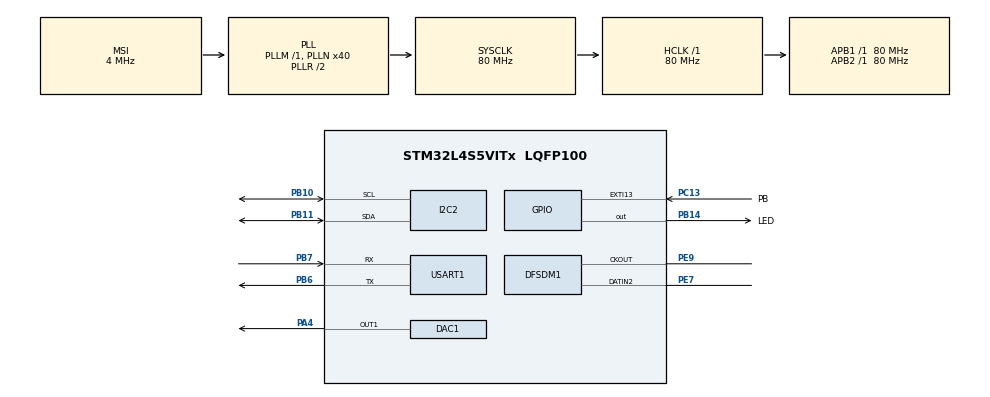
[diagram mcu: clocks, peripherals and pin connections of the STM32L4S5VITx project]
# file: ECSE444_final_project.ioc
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DAC1.DAC_Trigger-DAC_OUT1=DAC_TRIGGER_T2_TRGO
DFSDM1.Divider=40
DFSDM1.DmaMode_reg_FIL0=ENABLE
DFSDM1.FastMode_reg_FIL0=ENABLE
DFSDM1.Filter_regChannel_FIL0=DFSDM_CHANNEL_2
DFSDM1.Fosr_FIL0=250
DFSDM1.SincOrder_FIL0=DFSDM_FILTER_SINC3_ORDER
Dma.DAC1_CH1.0.Direction=DMA_MEMORY_TO_PERIPH
Dma.DAC1_CH1.0.EventEnable=DISABLE
Dma.DAC1_CH1.0.Instance=DMA1_Channel1
Dma.DAC1_CH1.0.MemDataAlignment=DMA_MDATAALIGN_WORD
Dma.DAC1_CH1.0.MemInc=DMA_MINC_ENABLE
Dma.DAC1_CH1.0.Mode=DMA_CIRCULAR
Dma.DAC1_CH1.0.PeriphDataAlignment=DMA_PDATAALIGN_WORD
Dma.DAC1_CH1.0.PeriphInc=DMA_PINC_DISABLE
Dma.DAC1_CH1.0.Polarity=HAL_DMAMUX_REQUEST_GEN_RISING
Dma.DAC1_CH1.0.Priority=DMA_PRIORITY_LOW
Dma.DAC1_CH1.0.RequestNumber=1
Dma.DAC1_CH1.0.SignalID=NONE
Dma.DAC1_CH1.0.SyncEnable=DISABLE
Dma.DAC1_CH1.0.SyncPolarity=HAL_DMAMUX_SYNC_NO_EVENT
Dma.DAC1_CH1.0.SyncRequestNumber=1
Dma.DAC1_CH1.0.SyncSignalID=NONE
Dma.DFSDM1_FLT0.1.Direction=DMA_PERIPH_TO_MEMORY
Dma.DFSDM1_FLT0.1.EventEnable=DISABLE
Dma.DFSDM1_FLT0.1.Instance=DMA1_Channel2
Dma.DFSDM1_FLT0.1.MemDataAlignment=DMA_MDATAALIGN_WORD
Dma.DFSDM1_FLT0.1.MemInc=DMA_MINC_ENABLE
Dma.DFSDM1_FLT0.1.Mode=DMA_NORMAL
Dma.DFSDM1_FLT0.1.PeriphDataAlignment=DMA_PDATAALIGN_WORD
Dma.DFSDM1_FLT0.1.PeriphInc=DMA_PINC_DISABLE
Dma.DFSDM1_FLT0.1.Polarity=HAL_DMAMUX_REQUEST_GEN_RISING
Dma.DFSDM1_FLT0.1.Priority=DMA_PRIORITY_HIGH
Dma.DFSDM1_FLT0.1.RequestNumber=1
Dma.DFSDM1_FLT0.1.SignalID=NONE
Dma.DFSDM1_FLT0.1.SyncEnable=DISABLE
Dma.DFSDM1_FLT0.1.SyncPolarity=HAL_DMAMUX_SYNC_NO_EVENT
Dma.DFSDM1_FLT0.1.SyncRequestNumber=1
Dma.DFSDM1_FLT0.1.SyncSignalID=NONE
Dma.Request0=DAC1_CH1
Dma.Request1=DFSDM1_FLT0
FREERTOS.Tasks01=buttonTask,0,128,StartButtonTask,Default,NULL,Dynamic,NULL,NULL;transmitTask,0,128,StartTransmitTask,Default,NULL,Dynamic,NULL,NULL;readTask,0,128,StartReadTask,Default,NULL,Dynamic,NULL,NULL;killTask,0,128,StartKillTask,Default,NULL,Dynamic,NULL,NULL
I2C2.Timing=0x10909CEC
Mcu.Family=STM32L4
Mcu.Name=STM32L4S5VITx
Mcu.Package=LQFP100
NVIC.DMA1_Channel1_IRQn=true\:5\:0\:false\:false\:true\:true\:false\:true\:true
NVIC.DMA1_Channel2_IRQn=true\:5\:0\:false\:false\:true\:true\:false\:true\:true
NVIC.EXTI15_10_IRQn=true\:5\:0\:false\:false\:true\:true\:true\:true\:true
NVIC.PriorityGroup=NVIC_PRIORITYGROUP_4
NVIC.TIM2_IRQn=true\:5\:0\:false\:false\:true\:true\:true\:true\:true
NVIC.TIM6_DAC_IRQn=true\:15\:0\:false\:false\:true\:false\:false\:true\:true
NVIC.TimeBase=TIM6_DAC_IRQn
NVIC.TimeBaseIP=TIM6
PA13\ (JTMS/SWDIO).Signal=SYS_JTMS-SWDIO
PA4.Signal=COMP_DAC11_group
PB10.Mode=I2C
PB10.Signal=I2C2_SCL
PB11.Mode=I2C
PB11.Signal=I2C2_SDA
PB14.GPIO_Label=LED
PB14.Signal=GPIO_Output
PB3\ (JTDO/TRACESWO).Signal=SYS_JTDO-SWO
PB6.Mode=Asynchronous
PB6.Signal=USART1_TX
PB7.Mode=Asynchronous
PB7.Signal=USART1_RX
PB8.Signal=I2C1_SCL
PB9.Signal=I2C1_SDA
PC13.GPIO_Label=PB
PC13.Signal=GPXTI13
PE7.Signal=S_DATAIN2DFSDM1
PE9.Signal=S_CKOUTDFSDM1
ProjectManager.HeapSize=0x200
ProjectManager.StackSize=0x400
ProjectManager.TargetToolchain=STM32CubeIDE
RCC.ADCFreq_Value=48000000
RCC.AHBFreq_Value=80000000
RCC.APB1Freq_Value=80000000
RCC.APB1TimFreq_Value=80000000
RCC.APB2Freq_Value=80000000
RCC.APB2TimFreq_Value=80000000
RCC.CortexFreq_Value=80000000
RCC.FLatency-AdvancedSettings=FLASH_LATENCY_3
RCC.HCLKFreq_Value=80000000
RCC.HSE_VALUE=8000000
RCC.HSI48_VALUE=48000000
RCC.HSI_VALUE=16000000
RCC.LSE_VALUE=32768
RCC.MSI_VALUE=4000000
RCC.PLLN=40
RCC.PLLSAI1N=24
RCC.SYSCLKFreq_VALUE=80000000
RCC.SYSCLKSource=RCC_SYSCLKSOURCE_PLLCLK
RCC.USBFreq_Value=48000000
RCC.VCOOutputFreq_Value=160000000
SH.COMP_DAC11_group.0=DAC1_OUT1,DAC_OUT1
SH.S_CKOUTDFSDM1.0=DFSDM1_CKOUT,PDM_SPI_input_from_ch2_and_internal_clock
SH.S_CKOUTDFSDM1.1=DFSDM1_CKOUT,CKOUT
SH.S_DATAIN2DFSDM1.0=DFSDM1_DATIN2,PDM_SPI_input_from_ch2_and_internal_clock
TIM2.Period=2000
TIM2.TIM_MasterOutputTrigger=TIM_TRGO_UPDATE
USART1.VirtualMode-Asynchronous=VM_ASYNC
VP_FREERTOS_VS_CMSIS_V1.Mode=CMSIS_V1
VP_SYS_VS_tim6.Mode=TIM6
VP_TIM2_VS_ClockSourceINT.Mode=Internal
board=B-L4S5I-IOT01A

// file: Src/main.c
/* USER CODE BEGIN Header */
/**
  ******************************************************************************
  * @file           : main.c
  * @brief          : Main program body
  ******************************************************************************
  * @attention
  *
  * Copyright (c) 2022 STMicroelectronics.
  * All rights reserved.
  *
  * This software is licensed under terms that can be found in the LICENSE file
  * in the root directory of this software component.
  * If no LICENSE file comes with this software, it is provided AS-IS.
  *
  ******************************************************************************
  */
/* USER CODE END Header */
#include "main.h"
#include "cmsis_os.h"

/* USER CODE BEGIN Includes */
#define ARM_MATH_CM4
#include "stm32l4s5i_iot01_qspi.h"
#include "arm_math.h"
#include <stdio.h>
#include <string.h>
/* USER CODE END Includes */

/* USER CODE BEGIN PD */
//#define ITM_Port32(n) (*((volatile unsigned long *) (0xE0000000+4*n)))
/* USER CODE END PD */

DAC_HandleTypeDef hdac1;
DMA_HandleTypeDef hdma_dac1_ch1;

DFSDM_Filter_HandleTypeDef hdfsdm1_filter0;
DFSDM_Channel_HandleTypeDef hdfsdm1_channel2;
DMA_HandleTypeDef hdma_dfsdm1_flt0;

I2C_HandleTypeDef hi2c2;

OSPI_HandleTypeDef hospi1;

TIM_HandleTypeDef htim2;

UART_HandleTypeDef huart1;

osThreadId buttonTaskHandle;
osThreadId transmitTaskHandle;
osThreadId readTaskHandle;
osThreadId killTaskHandle;
/* USER CODE BEGIN PV */
#define buffer_size	1000
int32_t pre_Buffer[buffer_size];
int32_t aft_Buffer[buffer_size];
uint32_t music[42] = {1,1,5,5,6,6,5,4,4,3,3,2,2,1,5,5,4,4,3,3,2,5,5,4,4,3,3,2,1,1,5,5,6,6,5,4,4,3,3,2,1,1};
uint32_t music_index = 0;
uint8_t music_started = 0;
uint8_t first_half_done = 0;
uint8_t second_half_done = 0;
uint8_t start_recording = 0;
uint8_t volume_height = 0;
uint32_t start_status = 0;
int32_t buffmax = 0;
int32_t buffmin = 0;
int32_t mean = 0;
int32_t sum = 0;
uint32_t i;
uint32_t j;
//uint32_t data_index = 0;
uint32_t puttonPushed = 0;
//uint32_t killCounter = 0;
uint32_t resetCounter = 0;
uint32_t blank_count = 0;
HAL_StatusTypeDef UART_status;
char str[240];
char row1[20];
char row2[20];
char row3[20];
char row4[20];
char row5[20];
char row6[20];
char row7[20];
char row8[20];
char row9[20];
char row10[20];
char row11[20];
int distance = 0;
uint32_t num = 0;
uint32_t done = 0;
uint8_t original[10] = { 0, 1, 2, 3, 4, 5, 6, 7, 8, 9 };
uint8_t copy[10];
uint32_t SIN_OUT_800[50];
uint32_t SIN_OUT_1000[40];
uint32_t SIN_OUT_1250[32];
uint32_t SIN_OUT_1600[25];
uint32_t SIN_OUT_2000[20];
uint32_t SIN_OUT_2500[16];
uint32_t offset = 20000;
uint8_t in_Buffer[20000];
uint32_t out_Buffer[20000];
uint8_t wave0[20000];
uint8_t wave1[20000];
uint8_t wave2[20000];
uint8_t wave3[20000];
uint8_t wave4[20000];
uint8_t wave5[20000];
uint8_t wave6[20000];
/* USER CODE END PV */

void SystemClock_Config(void);
static void MX_GPIO_Init(void);
static void MX_DMA_Init(void);
static void MX_DAC1_Init(void);
static void MX_TIM2_Init(void);
static void MX_I2C2_Init(void);
static void MX_USART1_UART_Init(void);
static void MX_DFSDM1_Init(void);
static void MX_OCTOSPI1_Init(void);
void StartButtonTask(void const * argument);
void StartTransmitTask(void const * argument);
void StartReadTask(void const * argument);
void StartKillTask(void const * argument);

int main(void)
{

  /* MCU Configuration--------------------------------------------------------*/

  /* Reset of all peripherals, Initializes the Flash interface and the Systick. */
  HAL_Init();

  /* Configure the system clock */
  SystemClock_Config();

  /* Initialize all configured peripherals */
  MX_GPIO_Init();
  MX_DMA_Init();
  MX_DAC1_Init();
  MX_TIM2_Init();
  MX_I2C2_Init();
  MX_USART1_UART_Init();
  MX_DFSDM1_Init();
  MX_OCTOSPI1_Init();
  /* USER CODE BEGIN 2 */
  BSP_QSPI_Init();

  for (int i = 0; i < offset; i++){
      float radians = 3.14 * i / 20;
      wave0[i] = (uint8_t) roundf(128 * (1.0 + arm_sin_f32(radians)));
  }
  for (int i = 0; i < offset; i++){
	  float radians = 3.14 * i / 18;
	  wave1[i] = (uint8_t) roundf(128 * (1.0 + arm_sin_f32(radians)));
  }
  for (int i = 0; i < offset; i++){
      float radians = 3.14 * i / 16;
      wave2[i] = (uint8_t) roundf(128 * (1.0 + arm_sin_f32(radians)));
  }
  for (int i = 0; i < offset; i++){
	  float radians = 3.14 * i / 15;
	  wave3[i] = (uint8_t) roundf(128 * (1.0 + arm_sin_f32(radians)));
  }
  for (int i = 0; i < offset; i++){
	  float radians = 3.14 * i / 13;
	  wave4[i] = (uint8_t) roundf(128 * (1.0 + arm_sin_f32(radians)));
  }
  for (int i = 0; i < offset; i++){
	  float radians = 3.14 * i / 12;
	  wave5[i] = (uint8_t) roundf(128 * (1.0 + arm_sin_f32(radians)));
  }
  for (int i = 0; i < offset; i++){
	  float radians = 3.14 * i / 11;
	  wave6[i] = (uint8_t) roundf(128 * (1.0 + arm_sin_f32(radians)));
  }

//  for (uint32_t k = 0; k < 50; k++) {
//	  SIN_OUT_800[k] = (uint32_t) roundf(125*(arm_sin_f32(k*(M_PI/25.0))+1));//1365
//  	}
//  for (uint32_t k = 0; k < 40; k++) {
//	  SIN_OUT_1000[k] = (uint32_t) roundf(125*(arm_sin_f32(k*(M_PI/20.0))+1));
//  	}
//  for (uint32_t k = 0; k < 32; k++) {
//	  SIN_OUT_1250[k] = (uint32_t) roundf(125*(arm_sin_f32(k*(M_PI/16.0))+1));
//  	}
//  for (uint32_t k = 0; k < 25; k++) {
//	  SIN_OUT_1600[k] = (uint32_t) roundf(125*(arm_sin_f32(k*(M_PI/12.5))+1));
//  	}
//  for (uint32_t k = 0; k < 20; k++) {
//	  SIN_OUT_2000[k] = (uint32_t) roundf(125*(arm_sin_f32(k*(M_PI/10.0))+1));
//  	}
//  for (uint32_t k = 0; k < 16; k++) {
//	  SIN_OUT_2500[k] = (uint32_t) roundf(125*(arm_sin_f32(k*(M_PI/8.0))+1));
//  	}

//  HAL_GPIO_TogglePin(LED_GPIO_Port, LED_Pin);

  if (BSP_QSPI_Erase_Block((uint32_t) 0x007F0000) != QSPI_OK){
	  Error_Handler();
  }
  if (BSP_QSPI_Erase_Block((uint32_t) 0x007E0000) != QSPI_OK){
	  Error_Handler();
  }
  if (BSP_QSPI_Erase_Block((uint32_t) 0x007D0000) != QSPI_OK){
	  Error_Handler();
  }
  if (BSP_QSPI_Erase_Block((uint32_t) 0x007C0000) != QSPI_OK){
	  Error_Handler();
  }
  if (BSP_QSPI_Erase_Block((uint32_t) 0x007B0000) != QSPI_OK){
	  Error_Handler();
  }
  if (BSP_QSPI_Erase_Block((uint32_t) 0x007A0000) != QSPI_OK){
	  Error_Handler();
  }
  if (BSP_QSPI_Erase_Block((uint32_t) 0x00790000) != QSPI_OK){
	  Error_Handler();
  }
//  for (uint32_t i = 0; i < 30000; i++) {
//	  in_Buffer[i] = (uint8_t)SIN_OUT_800[(i % 50)];
//  	}

  if (BSP_QSPI_Write(wave0, (uint32_t) 0x007F0000, 20000) != QSPI_OK){
	  Error_Handler();
  }

//  for (uint32_t i = 0; i < 30000; i++) {
//	  in_Buffer[i] = (uint8_t)SIN_OUT_1000[(i % 40)];
//  	}
  if (BSP_QSPI_Write(wave1, (uint32_t) 0x007E0000, 20000) != QSPI_OK){
	  Error_Handler();
  }

//  for (uint32_t i = 0; i < 30000; i++) {
//	  in_Buffer[i] = (uint8_t)SIN_OUT_1250[(i % 32)];
//  	}
  if (BSP_QSPI_Write(wave2, (uint32_t) 0x007D0000, 20000) != QSPI_OK){
	  Error_Handler();
  }

//  for (uint32_t i = 0; i < 30000; i++) {
//	  in_Buffer[i] = (uint8_t)SIN_OUT_1600[(i % 25)];
//  	}
  if (BSP_QSPI_Write(wave3, (uint32_t) 0x007C0000, 20000) != QSPI_OK){
	  Error_Handler();
  }

//  for (uint32_t i = 0; i < 30000; i++) {
//	  in_Buffer[i] = (uint8_t)SIN_OUT_2000[(i % 20)];
//  	}
  if (BSP_QSPI_Write(wave4, (uint32_t) 0x007B0000, 20000) != QSPI_OK){
	  Error_Handler();
  }

//  for (uint32_t i = 0; i < 30000; i++) {
//	  in_Buffer[i] = (uint8_t)SIN_OUT_2500[(i % 16)];
//  	}
  if (BSP_QSPI_Write(wave5, (uint32_t) 0x007A0000, 20000) != QSPI_OK){
	  Error_Handler();
  }

  if (BSP_QSPI_Write(wave6, (uint32_t) 0x00790000, 20000) != QSPI_OK){
	  Error_Handler();
  }

  /* USER CODE END 2 */

  /* Create the thread(s) */
  /* definition and creation of buttonTask */
  osThreadDef(buttonTask, StartButtonTask, osPriorityNormal, 0, 128);
  buttonTaskHandle = osThreadCreate(osThread(buttonTask), NULL);

  /* definition and creation of transmitTask */
  osThreadDef(transmitTask, StartTransmitTask, osPriorityNormal, 0, 128);
  transmitTaskHandle = osThreadCreate(osThread(transmitTask), NULL);

  /* definition and creation of readTask */
  osThreadDef(readTask, StartReadTask, osPriorityNormal, 0, 128);
  readTaskHandle = osThreadCreate(osThread(readTask), NULL);

  /* definition and creation of killTask */
  osThreadDef(killTask, StartKillTask, osPriorityNormal, 0, 128);
  killTaskHandle = osThreadCreate(osThread(killTask), NULL);

  /* Start scheduler */
  osKernelStart();

  /* We should never get here as control is now taken by the scheduler */
  /* Infinite loop */
  while (1)
  {

    /* USER CODE BEGIN 3 */
//	    HAL_Delay(100);
//		BSP_ACCELERO_AccGetXYZ(accelero);
//		BSP_GYRO_GetXYZ(gyro);
//		BSP_MAGNETO_GetXYZ(magneto);
//		hsensor = BSP_HSENSOR_ReadHumidity();
  }
  /* USER CODE END 3 */
}

void SystemClock_Config(void)
{
  RCC_OscInitTypeDef RCC_OscInitStruct = {0};
  RCC_ClkInitTypeDef RCC_ClkInitStruct = {0};

  /** Configure the main internal regulator output voltage
  */
  if (HAL_PWREx_ControlVoltageScaling(PWR_REGULATOR_VOLTAGE_SCALE1) != HAL_OK)
  {
    Error_Handler();
  }

  /** Initializes the RCC Oscillators according to the specified parameters
  * in the RCC_OscInitTypeDef structure.
  */
  RCC_OscInitStruct.OscillatorType = RCC_OSCILLATORTYPE_MSI;
  RCC_OscInitStruct.MSIState = RCC_MSI_ON;
  RCC_OscInitStruct.MSICalibrationValue = 0;
  RCC_OscInitStruct.MSIClockRange = RCC_MSIRANGE_6;
  RCC_OscInitStruct.PLL.PLLState = RCC_PLL_ON;
  RCC_OscInitStruct.PLL.PLLSource = RCC_PLLSOURCE_MSI;
  RCC_OscInitStruct.PLL.PLLM = 1;
  RCC_OscInitStruct.PLL.PLLN = 40;
  RCC_OscInitStruct.PLL.PLLP = RCC_PLLP_DIV2;
  RCC_OscInitStruct.PLL.PLLQ = RCC_PLLQ_DIV2;
  RCC_OscInitStruct.PLL.PLLR = RCC_PLLR_DIV2;
  if (HAL_RCC_OscConfig(&RCC_OscInitStruct) != HAL_OK)
  {
    Error_Handler();
  }

  /** Initializes the CPU, AHB and APB buses clocks
  */
  RCC_ClkInitStruct.ClockType = RCC_CLOCKTYPE_HCLK|RCC_CLOCKTYPE_SYSCLK
                              |RCC_CLOCKTYPE_PCLK1|RCC_CLOCKTYPE_PCLK2;
  RCC_ClkInitStruct.SYSCLKSource = RCC_SYSCLKSOURCE_PLLCLK;
  RCC_ClkInitStruct.AHBCLKDivider = RCC_SYSCLK_DIV1;
  RCC_ClkInitStruct.APB1CLKDivider = RCC_HCLK_DIV1;
  RCC_ClkInitStruct.APB2CLKDivider = RCC_HCLK_DIV1;

  if (HAL_RCC_ClockConfig(&RCC_ClkInitStruct, FLASH_LATENCY_3) != HAL_OK)
  {
    Error_Handler();
  }
}

static void MX_DAC1_Init(void)
{

  DAC_ChannelConfTypeDef sConfig = {0};

  /** DAC Initialization
  */
  hdac1.Instance = DAC1;
  if (HAL_DAC_Init(&hdac1) != HAL_OK)
  {
    Error_Handler();
  }

  /** DAC channel OUT1 config
  */
  sConfig.DAC_SampleAndHold = DAC_SAMPLEANDHOLD_DISABLE;
  sConfig.DAC_Trigger = DAC_TRIGGER_T2_TRGO;
  sConfig.DAC_HighFrequency = DAC_HIGH_FREQUENCY_INTERFACE_MODE_ABOVE_80MHZ;
  sConfig.DAC_OutputBuffer = DAC_OUTPUTBUFFER_ENABLE;
  sConfig.DAC_ConnectOnChipPeripheral = DAC_CHIPCONNECT_DISABLE;
  sConfig.DAC_UserTrimming = DAC_TRIMMING_FACTORY;
  if (HAL_DAC_ConfigChannel(&hdac1, &sConfig, DAC_CHANNEL_1) != HAL_OK)
  {
    Error_Handler();
  }

}

static void MX_DFSDM1_Init(void)
{

  hdfsdm1_filter0.Instance = DFSDM1_Filter0;
  hdfsdm1_filter0.Init.RegularParam.Trigger = DFSDM_FILTER_SW_TRIGGER;
  hdfsdm1_filter0.Init.RegularParam.FastMode = ENABLE;
  hdfsdm1_filter0.Init.RegularParam.DmaMode = ENABLE;
  hdfsdm1_filter0.Init.FilterParam.SincOrder = DFSDM_FILTER_SINC3_ORDER;
  hdfsdm1_filter0.Init.FilterParam.Oversampling = 250;
  hdfsdm1_filter0.Init.FilterParam.IntOversampling = 1;
  if (HAL_DFSDM_FilterInit(&hdfsdm1_filter0) != HAL_OK)
  {
    Error_Handler();
  }
  hdfsdm1_channel2.Instance = DFSDM1_Channel2;
  hdfsdm1_channel2.Init.OutputClock.Activation = ENABLE;
  hdfsdm1_channel2.Init.OutputClock.Selection = DFSDM_CHANNEL_OUTPUT_CLOCK_SYSTEM;
  hdfsdm1_channel2.Init.OutputClock.Divider = 40;
  hdfsdm1_channel2.Init.Input.Multiplexer = DFSDM_CHANNEL_EXTERNAL_INPUTS;
  hdfsdm1_channel2.Init.Input.DataPacking = DFSDM_CHANNEL_STANDARD_MODE;
  hdfsdm1_channel2.Init.Input.Pins = DFSDM_CHANNEL_SAME_CHANNEL_PINS;
  hdfsdm1_channel2.Init.SerialInterface.Type = DFSDM_CHANNEL_SPI_RISING;
  hdfsdm1_channel2.Init.SerialInterface.SpiClock = DFSDM_CHANNEL_SPI_CLOCK_INTERNAL;
  hdfsdm1_channel2.Init.Awd.FilterOrder = DFSDM_CHANNEL_FASTSINC_ORDER;
  hdfsdm1_channel2.Init.Awd.Oversampling = 1;
  hdfsdm1_channel2.Init.Offset = 0;
  hdfsdm1_channel2.Init.RightBitShift = 0x00;
  if (HAL_DFSDM_ChannelInit(&hdfsdm1_channel2) != HAL_OK)
  {
    Error_Handler();
  }
  if (HAL_DFSDM_FilterConfigRegChannel(&hdfsdm1_filter0, DFSDM_CHANNEL_2, DFSDM_CONTINUOUS_CONV_ON) != HAL_OK)
  {
    Error_Handler();
  }

}

static void MX_I2C2_Init(void)
{

  hi2c2.Instance = I2C2;
  hi2c2.Init.Timing = 0x10909CEC;
  hi2c2.Init.OwnAddress1 = 0;
  hi2c2.Init.AddressingMode = I2C_ADDRESSINGMODE_7BIT;
  hi2c2.Init.DualAddressMode = I2C_DUALADDRESS_DISABLE;
  hi2c2.Init.OwnAddress2 = 0;
  hi2c2.Init.OwnAddress2Masks = I2C_OA2_NOMASK;
  hi2c2.Init.GeneralCallMode = I2C_GENERALCALL_DISABLE;
  hi2c2.Init.NoStretchMode = I2C_NOSTRETCH_DISABLE;
  if (HAL_I2C_Init(&hi2c2) != HAL_OK)
  {
    Error_Handler();
  }

  /** Configure Analogue filter
  */
  if (HAL_I2CEx_ConfigAnalogFilter(&hi2c2, I2C_ANALOGFILTER_ENABLE) != HAL_OK)
  {
    Error_Handler();
  }

  /** Configure Digital filter
  */
  if (HAL_I2CEx_ConfigDigitalFilter(&hi2c2, 0) != HAL_OK)
  {
    Error_Handler();
  }

}

static void MX_OCTOSPI1_Init(void)
{

  OSPIM_CfgTypeDef OSPIM_Cfg_Struct = {0};

  /* OCTOSPI1 parameter configuration*/
  hospi1.Instance = OCTOSPI1;
  hospi1.Init.FifoThreshold = 1;
  hospi1.Init.DualQuad = HAL_OSPI_DUALQUAD_DISABLE;
  hospi1.Init.MemoryType = HAL_OSPI_MEMTYPE_MACRONIX;
  hospi1.Init.DeviceSize = 32;
  hospi1.Init.ChipSelectHighTime = 1;
  hospi1.Init.FreeRunningClock = HAL_OSPI_FREERUNCLK_DISABLE;
  hospi1.Init.ClockMode = HAL_OSPI_CLOCK_MODE_0;
  hospi1.Init.ClockPrescaler = 1;
  hospi1.Init.SampleShifting = HAL_OSPI_SAMPLE_SHIFTING_NONE;
  hospi1.Init.DelayHoldQuarterCycle = HAL_OSPI_DHQC_DISABLE;
  hospi1.Init.ChipSelectBoundary = 0;
  hospi1.Init.DelayBlockBypass = HAL_OSPI_DELAY_BLOCK_BYPASSED;
  if (HAL_OSPI_Init(&hospi1) != HAL_OK)
  {
    Error_Handler();
  }
  OSPIM_Cfg_Struct.ClkPort = 1;
  OSPIM_Cfg_Struct.NCSPort = 1;
  OSPIM_Cfg_Struct.IOLowPort = HAL_OSPIM_IOPORT_1_LOW;
  if (HAL_OSPIM_Config(&hospi1, &OSPIM_Cfg_Struct, HAL_OSPI_TIMEOUT_DEFAULT_VALUE) != HAL_OK)
  {
    Error_Handler();
  }

}

static void MX_TIM2_Init(void)
{

  TIM_ClockConfigTypeDef sClockSourceConfig = {0};
  TIM_MasterConfigTypeDef sMasterConfig = {0};

  htim2.Instance = TIM2;
  htim2.Init.Prescaler = 0;
  htim2.Init.CounterMode = TIM_COUNTERMODE_UP;
  htim2.Init.Period = 2000;
  htim2.Init.ClockDivision = TIM_CLOCKDIVISION_DIV1;
  htim2.Init.AutoReloadPreload = TIM_AUTORELOAD_PRELOAD_DISABLE;
  if (HAL_TIM_Base_Init(&htim2) != HAL_OK)
  {
    Error_Handler();
  }
  sClockSourceConfig.ClockSource = TIM_CLOCKSOURCE_INTERNAL;
  if (HAL_TIM_ConfigClockSource(&htim2, &sClockSourceConfig) != HAL_OK)
  {
    Error_Handler();
  }
  sMasterConfig.MasterOutputTrigger = TIM_TRGO_UPDATE;
  sMasterConfig.MasterSlaveMode = TIM_MASTERSLAVEMODE_DISABLE;
  if (HAL_TIMEx_MasterConfigSynchronization(&htim2, &sMasterConfig) != HAL_OK)
  {
    Error_Handler();
  }

}

static void MX_USART1_UART_Init(void)
{

  huart1.Instance = USART1;
  huart1.Init.BaudRate = 115200;
  huart1.Init.WordLength = UART_WORDLENGTH_8B;
  huart1.Init.StopBits = UART_STOPBITS_1;
  huart1.Init.Parity = UART_PARITY_NONE;
  huart1.Init.Mode = UART_MODE_TX_RX;
  huart1.Init.HwFlowCtl = UART_HWCONTROL_NONE;
  huart1.Init.OverSampling = UART_OVERSAMPLING_16;
  huart1.Init.OneBitSampling = UART_ONE_BIT_SAMPLE_DISABLE;
  huart1.Init.ClockPrescaler = UART_PRESCALER_DIV1;
  huart1.AdvancedInit.AdvFeatureInit = UART_ADVFEATURE_NO_INIT;
  if (HAL_UART_Init(&huart1) != HAL_OK)
  {
    Error_Handler();
  }
  if (HAL_UARTEx_SetTxFifoThreshold(&huart1, UART_TXFIFO_THRESHOLD_1_8) != HAL_OK)
  {
    Error_Handler();
  }
  if (HAL_UARTEx_SetRxFifoThreshold(&huart1, UART_RXFIFO_THRESHOLD_1_8) != HAL_OK)
  {
    Error_Handler();
  }
  if (HAL_UARTEx_DisableFifoMode(&huart1) != HAL_OK)
  {
    Error_Handler();
  }

}

static void MX_DMA_Init(void)
{

  /* DMA controller clock enable */
  __HAL_RCC_DMAMUX1_CLK_ENABLE();
  __HAL_RCC_DMA1_CLK_ENABLE();

  /* DMA interrupt init */
  /* DMA1_Channel1_IRQn interrupt configuration */
  HAL_NVIC_SetPriority(DMA1_Channel1_IRQn, 5, 0);
  HAL_NVIC_EnableIRQ(DMA1_Channel1_IRQn);
  /* DMA1_Channel2_IRQn interrupt configuration */
  HAL_NVIC_SetPriority(DMA1_Channel2_IRQn, 5, 0);
  HAL_NVIC_EnableIRQ(DMA1_Channel2_IRQn);

}

static void MX_GPIO_Init(void)
{
  GPIO_InitTypeDef GPIO_InitStruct = {0};

  /* GPIO Ports Clock Enable */
  __HAL_RCC_GPIOC_CLK_ENABLE();
  __HAL_RCC_GPIOA_CLK_ENABLE();
  __HAL_RCC_GPIOE_CLK_ENABLE();
  __HAL_RCC_GPIOB_CLK_ENABLE();

  /*Configure GPIO pin Output Level */
  HAL_GPIO_WritePin(LED_GPIO_Port, LED_Pin, GPIO_PIN_RESET);

  /*Configure GPIO pin : PB_Pin */
  GPIO_InitStruct.Pin = PB_Pin;
  GPIO_InitStruct.Mode = GPIO_MODE_IT_RISING;
  GPIO_InitStruct.Pull = GPIO_NOPULL;
  HAL_GPIO_Init(PB_GPIO_Port, &GPIO_InitStruct);

  /*Configure GPIO pin : LED_Pin */
  GPIO_InitStruct.Pin = LED_Pin;
  GPIO_InitStruct.Mode = GPIO_MODE_OUTPUT_PP;
  GPIO_InitStruct.Pull = GPIO_NOPULL;
  GPIO_InitStruct.Speed = GPIO_SPEED_FREQ_LOW;
  HAL_GPIO_Init(LED_GPIO_Port, &GPIO_InitStruct);

  /*Configure GPIO pins : PB8 PB9 */
  GPIO_InitStruct.Pin = GPIO_PIN_8|GPIO_PIN_9;
  GPIO_InitStruct.Mode = GPIO_MODE_AF_OD;
  GPIO_InitStruct.Pull = GPIO_NOPULL;
  GPIO_InitStruct.Speed = GPIO_SPEED_FREQ_VERY_HIGH;
  GPIO_InitStruct.Alternate = GPIO_AF4_I2C1;
  HAL_GPIO_Init(GPIOB, &GPIO_InitStruct);

  /* EXTI interrupt init*/
  HAL_NVIC_SetPriority(EXTI15_10_IRQn, 5, 0);
  HAL_NVIC_EnableIRQ(EXTI15_10_IRQn);

}

/* USER CODE BEGIN 4 */
void HAL_DAC_ConvCpltCallbackCh1(DAC_HandleTypeDef *hdac){
	done = 1;
	HAL_DAC_Stop_DMA(&hdac1, DAC_CHANNEL_1);
}
void HAL_DFSDM_FilterRegConvHalfCpltCallback(DFSDM_Filter_HandleTypeDef *hdfsdm_filter){
	first_half_done = 1;
}
void HAL_DFSDM_FilterRegConvCpltCallback(DFSDM_Filter_HandleTypeDef *hdfsdm_filter){
	second_half_done = 1;
}
void HAL_GPIO_EXTI_Callback(uint16_t GPIO_Pin)
{
	puttonPushed = 1;

}
/* USER CODE END 4 */

void StartButtonTask(void const * argument)
{
  /* USER CODE BEGIN 5 */
  /* Infinite loop */
  for(;;)
  {
    osDelay(100);
    //ITM_Port32(31) = 1;
    if (puttonPushed==1){
    	puttonPushed = 0;
    	distance = 0;
    	resetCounter = 1;//this indicates the start of the game
    	//initialize 10 rows
        sprintf(row1, "\r*|          |*\n");
        sprintf(row2, "\r*|          |*\n");
        sprintf(row3, "\r*|          |*\n");
        sprintf(row4, "\r*|          |*\n");
        sprintf(row5, "\r*|          |*\n");
        sprintf(row6, "\r*|          |*\n");
        sprintf(row7, "\r*|          |*\n");
        sprintf(row8, "\r*|          |*\n");
        sprintf(row9, "\r*|          |*\n");
        sprintf(row10, "\r*|         O|*\n");
        sprintf(row11, "\r**************");
    }
  }
  /* USER CODE END 5 */
}

void StartTransmitTask(void const * argument)
{
  /* USER CODE BEGIN StartTransmitTask */
	  HAL_UART_Init(&huart1);
  /* Infinite loop */
  for(;;)
  {
    osDelay(500);
    while(resetCounter ==0){
    //do nothing until the button is pressed
    }
    if(start_recording==0){
        HAL_DFSDM_FilterRegularStart_DMA(&hdfsdm1_filter0, pre_Buffer, buffer_size);
        HAL_GPIO_TogglePin(LED_GPIO_Port, LED_Pin);
        start_recording=1;
        sum = 0;
        }
    	  if (first_half_done == 1){
    		  for(i = 0; i<buffer_size/2; i++){
    			  aft_Buffer[i] = pre_Buffer[i]>>20;
    			  if (aft_Buffer[i]>buffmax){
    				  buffmax = aft_Buffer[i];
    			  }
    			  if (aft_Buffer[i]<buffmin){
    				  buffmin = aft_Buffer[i];
    			  }
    			  if(aft_Buffer[i]<0){
    				  sum -= aft_Buffer[i];
    			  }
    			  else{
    				  sum += aft_Buffer[i];
    			  }
    		  }
    		  first_half_done = 0;
    	  }
    	  if (second_half_done == 1){
    		  for(i = buffer_size/2; i<buffer_size; i++){
    			  aft_Buffer[i] = pre_Buffer[i]>>20;
    			  if (aft_Buffer[i]>buffmax){
    				  buffmax = aft_Buffer[i];
    			  }
    			  if (aft_Buffer[i]<buffmin){
    				  buffmin = aft_Buffer[i];
    			  }
    			  if(aft_Buffer[i]<0){
    				  sum -= aft_Buffer[i];
    			  }
    			  else{
    				  sum += aft_Buffer[i];
    			  }
    		  }
    		  mean = sum/buffer_size;
    		  second_half_done = 0;
    		  HAL_DFSDM_FilterRegularStop_DMA(&hdfsdm1_filter0);
    		  HAL_GPIO_TogglePin(LED_GPIO_Port, LED_Pin);
    		  start_recording=0;
    	  }
    	  if(mean<10){
    			  volume_height = 0;
    		  }
    		  else if(mean<25){
    			  volume_height = 1;
    		  }
    		  else if(mean<50){
    			  volume_height = 2;
    		  }
    		  else if(mean<75){
    			  volume_height = 3;
    		  }
    		  else if(mean<100){
    			  volume_height = 4;
    		  }
    		  else if(mean<125){
    			  volume_height = 5;
    		  }
    		  else if(mean<150){
    			  volume_height = 6;
    		  }
    		  else if(mean<175){
    			  volume_height = 7;
    		  }
    		  else if(mean<200){
    			  volume_height = 8;
    		  }
    		  else if(mean<225){
    			  volume_height = 9;
    		  }
    		  else{
    			  volume_height = 9;
    		  }
    //for each row, copy the last row's content
    for(uint16_t copyIndex =0;copyIndex<20;copyIndex++){
    row10[copyIndex] = row9[copyIndex];
    row9[copyIndex] = row8[copyIndex];
    row8[copyIndex] = row7[copyIndex];
    row7[copyIndex] = row6[copyIndex];
    row6[copyIndex] = row5[copyIndex];
    row5[copyIndex] = row4[copyIndex];
    row4[copyIndex] = row3[copyIndex];
    row3[copyIndex] = row2[copyIndex];
    row2[copyIndex] = row1[copyIndex];
    }
    if (row10[12-volume_height]=='_'){
    	row10[12-volume_height] = 'X';
    	resetCounter = 0;
    }
    else{
    	row10[12-volume_height] = 'O';
    	distance += 1;
    }
    //generate the row1
    if (blank_count == 0){ //when blank_count=0, we generate spikes, otherwise we leave it blank
    	blank_count +=1;
    	uint8_t first_spike =  rand()%7;//generate a random number between 0-6
    	//generate different spikes
    	if (first_spike == 0){
    		sprintf(row1, "\r*|    ______|*\n");
    	}
    	else if(first_spike == 1){
    		sprintf(row1, "\r*|_    _____|*\n");
    	}
    	else if(first_spike == 2){
    		sprintf(row1, "\r*|__    ____|*\n");
    	}
    	else if(first_spike == 3){
    		sprintf(row1, "\r*|___    ___|*\n");
    	}
    	else if(first_spike == 4){
    		sprintf(row1, "\r*|____    __|*\n");
    	}
    	else if(first_spike == 5){
    		sprintf(row1, "\r*|_____    _|*\n");
    	}
    	else if(first_spike == 6){
    		sprintf(row1, "\r*|______    |*\n");
    	}
    }
    else if(blank_count == 1){//leave blank(no spikes)
    	blank_count +=1;
    	sprintf(row1, "\r*|          |*\n");
    }
    else{//leave blank(no spikes)
    	blank_count = 0;
    	sprintf(row1, "\r*|          |*\n");
    }
    sprintf(str, "%s%s%s%s%s%s%s%s%s%s%s distance=%d\n", row1, row2, row3, row4, row5, row6, row7, row8, row9, row10, row11, distance);
    HAL_UART_Transmit(&huart1, (uint8_t*) str, (uint16_t) strlen(str), 10000);
  }
  /* USER CODE END StartTransmitTask */
}

void StartReadTask(void const * argument)
{
  /* USER CODE BEGIN StartReadTask */

  /* Infinite loop */
  for(;;)
  {
    osDelay(100);
    while(resetCounter ==0){
    //do nothing until the button is pressed
    }
//    if(start_recording==0){
//    HAL_DFSDM_FilterRegularStart_DMA(&hdfsdm1_filter0, pre_Buffer, buffer_size);
//    HAL_GPIO_TogglePin(LED_GPIO_Port, LED_Pin);
//    start_recording=1;
//    sum = 0;
//    }
//	  if (first_half_done == 1){
//		  for(i = 0; i<buffer_size/2; i++){
//			  aft_Buffer[i] = pre_Buffer[i]>>20;
//			  if (aft_Buffer[i]>buffmax){
//				  buffmax = aft_Buffer[i];
//			  }
//			  if (aft_Buffer[i]<buffmin){
//				  buffmin = aft_Buffer[i];
//			  }
//			  if(aft_Buffer[i]<0){
//				  sum -= aft_Buffer[i];
//			  }
//			  else{
//				  sum += aft_Buffer[i];
//			  }
//		  }
//		  first_half_done = 0;
//	  }
//	  if (second_half_done == 1){
//		  for(i = buffer_size/2; i<buffer_size; i++){
//			  aft_Buffer[i] = pre_Buffer[i]>>20;
//			  if (aft_Buffer[i]>buffmax){
//				  buffmax = aft_Buffer[i];
//			  }
//			  if (aft_Buffer[i]<buffmin){
//				  buffmin = aft_Buffer[i];
//			  }
//			  if(aft_Buffer[i]<0){
//				  sum -= aft_Buffer[i];
//			  }
//			  else{
//				  sum += aft_Buffer[i];
//			  }
//		  }
//		  mean = sum/buffer_size;
//		  second_half_done = 0;
//		  HAL_DFSDM_FilterRegularStop_DMA(&hdfsdm1_filter0);
//		  HAL_GPIO_TogglePin(LED_GPIO_Port, LED_Pin);
//		  start_recording=0;
//	  }
//	  if(mean<10){
//			  volume_height = 0;
//		  }
//		  else if(mean<25){
//			  volume_height = 1;
//		  }
//		  else if(mean<50){
//			  volume_height = 2;
//		  }
//		  else if(mean<75){
//			  volume_height = 3;
//		  }
//		  else if(mean<100){
//			  volume_height = 4;
//		  }
//		  else if(mean<125){
//			  volume_height = 5;
//		  }
//		  else if(mean<150){
//			  volume_height = 6;
//		  }
//		  else if(mean<175){
//			  volume_height = 7;
//		  }
//		  else if(mean<200){
//			  volume_height = 8;
//		  }
//		  else if(mean<225){
//			  volume_height = 9;
//		  }
//		  else{
//			  volume_height = 9;
//		  }

  }
  /* USER CODE END StartReadTask */
}

void StartKillTask(void const * argument)
{
  /* USER CODE BEGIN StartKillTask */
  /* Infinite loop */
  for(;;)
  {
    osDelay(500);
    while(resetCounter ==0){
    	HAL_DAC_Stop_DMA(&hdac1, DAC_CHANNEL_1);
    	music_index=0;
    	music_started = 0;
    }
    if(music_started==0){
    	music_started=1;
    	music_index = music_index+1;
    	  if (BSP_QSPI_Read(in_Buffer, (uint32_t) 0x007F0000, 20000) != QSPI_OK){
    		  Error_Handler();
    	  }
    	  for (uint32_t i = 0; i < 20000; i++) {
    		  out_Buffer[i] = (uint32_t)in_Buffer[i]*10;
    	  	}
    	  HAL_DAC_Start_DMA(&hdac1, DAC_CHANNEL_1, out_Buffer, 20000, DAC_ALIGN_12B_R);
    	  HAL_TIM_Base_Start_IT(&htim2);
    }
    while(done == 1 && music_started==1){
    		  done = 0;
    		  num = music[music_index]-1;
    		if (num == 0 ){
    			num = num+1;
    			  if (BSP_QSPI_Read(in_Buffer, (uint32_t) 0x007F0000, 20000) != QSPI_OK){
    				  Error_Handler();
    			  }
    			  for (uint32_t i = 0; i < 20000; i++) {
    				  out_Buffer[i] = (uint32_t)in_Buffer[i]*10;
    			  	}
//    			  HAL_DAC_Stop_DMA(&hdac1, DAC_CHANNEL_1);
    			  HAL_DAC_Start_DMA(&hdac1, DAC_CHANNEL_1, out_Buffer, 20000, DAC_ALIGN_12B_R);
//    			  int a = 0;
    		}
    		else if(num == 1){
    			num = num+1;
    			  if (BSP_QSPI_Read(in_Buffer, (uint32_t) 0x007E0000, 20000) != QSPI_OK){
    				  Error_Handler();
    			  }
    			  for (uint32_t i = 0; i < 20000; i++) {
    				  out_Buffer[i] = (uint32_t)in_Buffer[i]*10;
    			  	}
//    			  HAL_DAC_Stop_DMA(&hdac1, DAC_CHANNEL_1);
    			  HAL_DAC_Start_DMA(&hdac1, DAC_CHANNEL_1, out_Buffer, 20000, DAC_ALIGN_12B_R);
    		}
    		else if(num == 2){
    			num = num+1;
    			  if (BSP_QSPI_Read(in_Buffer, (uint32_t) 0x007D0000, 20000) != QSPI_OK){
    				  Error_Handler();
    			  }
    			  for (uint32_t i = 0; i < 20000; i++) {
    				  out_Buffer[i] = (uint32_t)in_Buffer[i]*10;
    			  	}
//    			  HAL_DAC_Stop_DMA(&hdac1, DAC_CHANNEL_1);
    			  HAL_DAC_Start_DMA(&hdac1, DAC_CHANNEL_1, out_Buffer, 20000, DAC_ALIGN_12B_R);
    		}
    		else if(num == 3){
    			num = num+1;
    			  if (BSP_QSPI_Read(in_Buffer, (uint32_t) 0x007C0000, 20000) != QSPI_OK){
    				  Error_Handler();
    			  }
    			  for (uint32_t i = 0; i < 20000; i++) {
    				  out_Buffer[i] = (uint32_t)in_Buffer[i]*10;
    			  	}
//    			  HAL_DAC_Stop_DMA(&hdac1, DAC_CHANNEL_1);
    			  HAL_DAC_Start_DMA(&hdac1, DAC_CHANNEL_1, out_Buffer, 20000, DAC_ALIGN_12B_R);
    		}
    		else if(num == 4){
    			num = num+1;
    			  if (BSP_QSPI_Read(in_Buffer, (uint32_t) 0x007B0000, 20000) != QSPI_OK){
    				  Error_Handler();
    			  }
    			  for (uint32_t i = 0; i < 20000; i++) {
    				  out_Buffer[i] = (uint32_t)in_Buffer[i]*10;
    			  	}
//    			  HAL_DAC_Stop_DMA(&hdac1, DAC_CHANNEL_1);
    			  HAL_DAC_Start_DMA(&hdac1, DAC_CHANNEL_1, out_Buffer, 20000, DAC_ALIGN_12B_R);
    		}
    		else if(num == 5){
    			num = num+1;
    			  if (BSP_QSPI_Read(in_Buffer, (uint32_t) 0x007A0000, 20000) != QSPI_OK){
    				  Error_Handler();
    			  }
    			  for (uint32_t i = 0; i < 20000; i++) {
    				  out_Buffer[i] = (uint32_t)in_Buffer[i]*10;
    			  	}
//    			  HAL_DAC_Stop_DMA(&hdac1, DAC_CHANNEL_1);
    			  HAL_DAC_Start_DMA(&hdac1, DAC_CHANNEL_1, out_Buffer, 20000, DAC_ALIGN_12B_R);
    		}
    		else{
    			num = 0;
    			  if (BSP_QSPI_Read(in_Buffer, (uint32_t) 0x00790000, 20000) != QSPI_OK){
    				  Error_Handler();
    			  }
    			  for (uint32_t i = 0; i < 20000; i++) {
    				  out_Buffer[i] = (uint32_t)in_Buffer[i]*10;
    			  	}
//    			  HAL_DAC_Stop_DMA(&hdac1, DAC_CHANNEL_1);
    			  HAL_DAC_Start_DMA(&hdac1, DAC_CHANNEL_1, out_Buffer, 20000, DAC_ALIGN_12B_R);
    		}
    		music_index = music_index+1;
    		if(music_index==41){
    			music_index=0;
    		}
      }
  }
  /* USER CODE END StartKillTask */
}

void HAL_TIM_PeriodElapsedCallback(TIM_HandleTypeDef *htim)
{
  if (htim->Instance == TIM6) {
    HAL_IncTick();
  }
}

void Error_Handler(void)
{
  __disable_irq();
  while (1)
  {
  }
}
